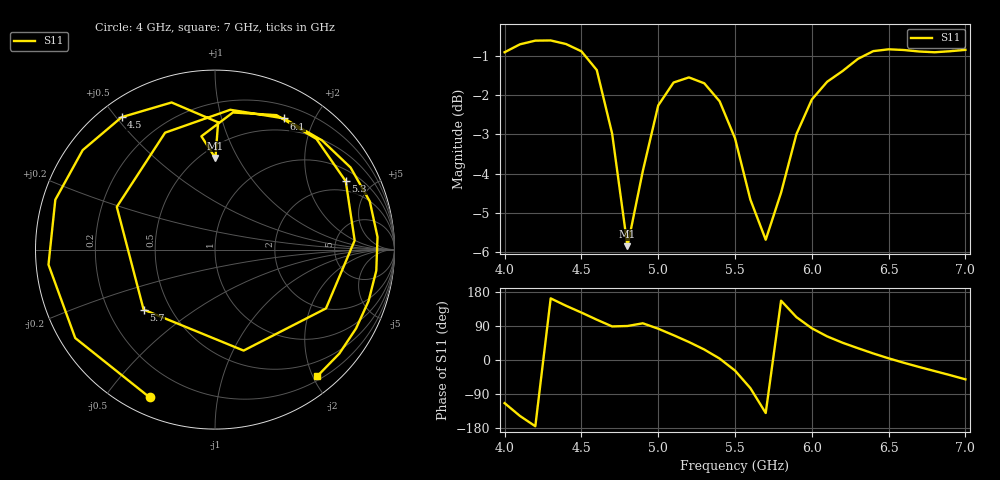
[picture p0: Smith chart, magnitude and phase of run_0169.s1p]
! Touchstone file exported from HFSS 2024.2.0
!  File:  C:/Users/wsak9/Desktop/Sim Fast/Widenad Patch/WP_AI_V1_sweep.aedt
!  Generated:  09:58:55 PM Oct 13, 2026
!  Design:  A1_model
!  Project:  WP_AI_V1_sweep
!  Setup:  Setup1
!  Solution:  Sweep
! Variables:
!  Air_gap = 2.17mm
!  Curve_Amp1 = 3.58
!  Curve_len1 = 1
!  Curve_pos = 11.35mm
!  Extra = 0.77mm
!  H_sub = 0.79mm
!  L_Patch = 18.7mm
!  L_Patch1 = 13.62mm
!  Sx = 1.58mm
!  Sy = 2.71mm
!  WS = 0.63mm
!  W_Patch = 21.13mm
!  W_Patch1 = 12.85mm
!Data is not renormalized
# GHz S MA
! Terminal data exported
! Port[1] = 1
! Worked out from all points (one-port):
!   31 points, 4 GHz to 7 GHz, reference per port
!   lowest |S11| = -5.8 dB at 4.8 GHz (marker M1), VSWR 3.08
!   |S11| at or under -10 dB: nowhere
!   S11 on the Smith chart (normalised r, x): 4 GHz: 0.07, -0.65; 4.5 GHz: 0.06, +0.52; 5.3 GHz: 1.48, +3.48; 5.7 GHz: 0.35, -0.32; 6.1 GHz: 0.35, +1.60; 7 GHz: 0.26, -2.07
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4  0.9003 -113.9
4.1  0.9215 -147.7
4.2  0.9315 -174.8
4.3  0.932 162.7
4.4  0.9223 143.1
4.5  0.9028 125.2
4.6  0.8547 106.4
4.7  0.7095 88.6
4.8  0.5101 89.7
4.9  0.636 96.8
5  0.7703 82.6
5.1  0.8239 65.4
5.2  0.8364 47.5
5.3  0.8221 27.6
5.4  0.7798 3.7
5.5  0.6998 -27.9
5.6  0.5848 -74.2
5.7  0.5198 -139.9
5.8  0.5966 156.5
5.9  0.7083 113.1
6  0.7838 83.8
6.1  0.8258 62.3
6.3  0.8829 31.2
6.4  0.9033 17.3
6.5  0.9081 4.4
6.7  0.9023 -18.6
6.9  0.903 -39.9
7  0.9066 -51.0
